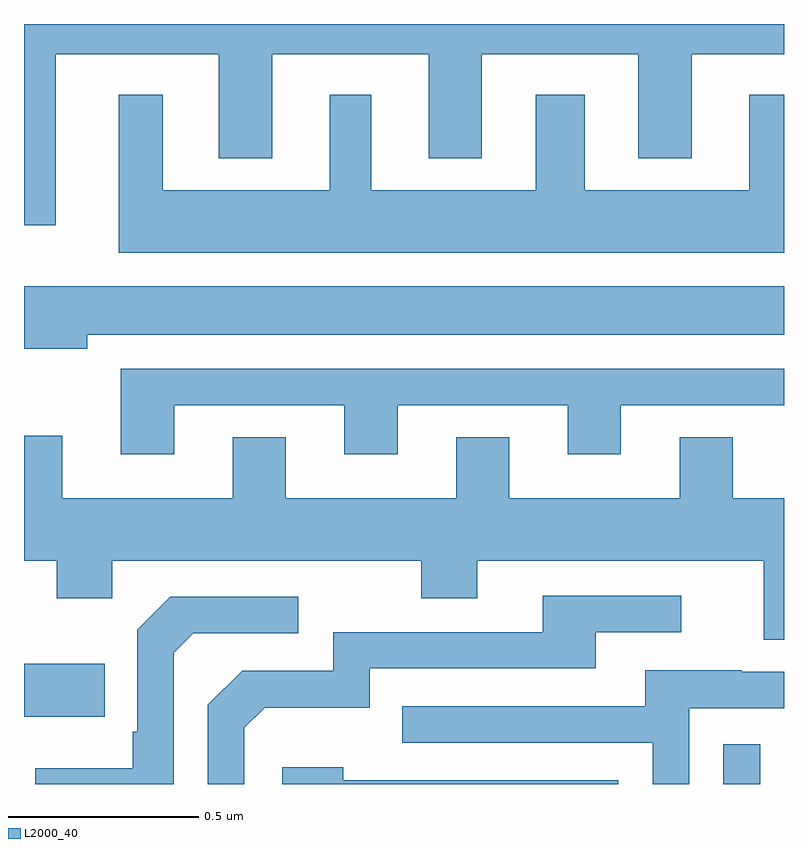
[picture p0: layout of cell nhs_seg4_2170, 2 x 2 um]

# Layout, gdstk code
import gdstk
lib = gdstk.Library(unit=1e-6, precision=1e-09)
def R(c, l, rs):  # rectangles x0, y0, x1, y1
    for r in rs: c.add(gdstk.rectangle(r[:2], r[2:], *l))
def P(c, l, *ps):  # polygons
    for p in ps: c.add(gdstk.Polygon(p, *l))
L2000_40 = (2000, 40)

nhs_seg4_2170 = lib.new_cell('nhs_seg4_2170')
R(nhs_seg4_2170, L2000_40, [(138.84,794.9,138.937,795.004), (137,795.077,137.213,795.217)])
P(nhs_seg4_2170, L2000_40, [(137.083,796.82),(137.513,796.82),(137.513,796.547),(137.653,796.547),(137.653,796.82),(138.065,796.82),(138.065,796.547),(138.205,796.547),(138.205,796.82),(138.617,796.82),(138.617,796.547),(138.757,796.547),(138.757,796.82),(139,796.82),(139,796.9),(137,796.9),(137,796.371),(137.083,796.371)],
  [(139,796.714),(138.908,796.714),(138.908,796.462),(138.475,796.462),(138.475,796.714),(138.347,796.714),(138.347,796.462),(137.914,796.462),(137.914,796.714),(137.804,796.714),(137.804,796.462),(137.365,796.462),(137.365,796.714),(137.249,796.714),(137.249,796.298),(139,796.298)],
  [(137.167,796.082),(139,796.082),(139,796.21),(137,796.21),(137,796.046),(137.167,796.046)],
  [(137.395,795.897),(137.843,795.897),(137.843,795.768),(137.983,795.768),(137.983,795.897),(138.431,795.897),(138.431,795.768),(138.571,795.768),(138.571,795.897),(139,795.897),(139,795.993),(137.255,795.993),(137.255,795.768),(137.395,795.768)],
  [(139,795.652),(138.865,795.652),(138.865,795.812),(138.725,795.812),(138.725,795.652),(138.277,795.652),(138.277,795.812),(138.137,795.812),(138.137,795.652),(137.689,795.652),(137.689,795.812),(137.549,795.812),(137.549,795.652),(137.101,795.652),(137.101,795.817),(137,795.817),(137,795.488),(137.086,795.488),(137.086,795.389),(137.232,795.389),(137.232,795.488),(138.046,795.488),(138.046,795.389),(138.193,795.389),(138.193,795.488),(138.947,795.488),(138.947,795.28),(139,795.28)],
  [(137.58,795.048),(137.633,795.101),(137.91,795.101),(137.91,795.204),(138.505,795.204),(138.505,795.3),(138.73,795.3),(138.73,795.396),(138.365,795.396),(138.365,795.3),(137.814,795.3),(137.814,795.198),(137.574,795.198),(137.484,795.108),(137.484,794.9),(137.58,794.9)],
  [(137.394,795.246),(137.445,795.297),(137.722,795.297),(137.722,795.393),(137.385,795.393),(137.298,795.306),(137.298,795.037),(137.286,795.037),(137.286,794.941),(137.029,794.941),(137.029,794.9),(137.394,794.9)],
  [(138.75,795.099),(139,795.099),(139,795.195),(138.889,795.195),(138.889,795.199),(138.635,795.199),(138.635,795.105),(137.995,795.105),(137.995,795.009),(138.654,795.009),(138.654,794.9),(138.75,794.9)],
  [(138.564,794.91),(137.84,794.91),(137.84,794.944),(137.679,794.944),(137.679,794.9),(138.564,794.9)])

lib.write_gds('nhs_seg4_2170.gds')
